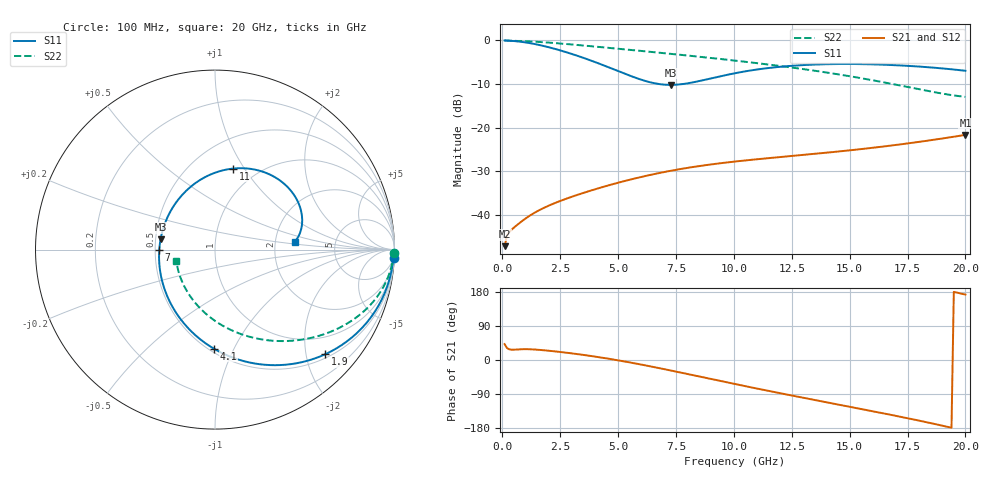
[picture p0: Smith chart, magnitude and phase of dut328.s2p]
! Touchstone file exported from HFSS 2024.1.0
!  File:  C:/UserFiles/LocalFiles/RDL_TSV_Batchsim/temp_RDL_TSV_328_1779631560.aedt
!  Generated:  10:26:10 PM May 24, 2026
!  Design:  RDL_TSV
!  Project:  temp_RDL_TSV_328_1779631560
!  Setup:  Setup1
!  Solution:  Sweep
! Variables:
!  dtsv = 7.47um
!  hbump = 3um
!  htsv = 77.25um
!  ldown = 663.25um
!  lrdl = 528.51um
!  p = 40
!  p1 = 42.19um
!  rhole = 10um
!  subl = 4103.79um
!  t = 450um
!  tdown = 2.03um
!  trdl = 3.8um
!  viad = 10um
!  wdown = 18.35um
!  wrdl = 16.97um
!  xbump = 18um
# GHz S MA R 50.000000
! Terminal data exported
! Port[1] = TM1_1_T1
! Port[2] = TM1_4_T1
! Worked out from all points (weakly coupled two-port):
!   200 points, 100 MHz to 20 GHz, reference 50 ohm
!   highest |S21| = -21.68 dB at 20 GHz (marker M1); lowest = -47.2 dB at 100 MHz (marker M2)
!   lowest |S11| = -10.2 dB at 7.3 GHz (marker M3), VSWR 1.89, Z = 26.6 + j3.44 ohm
!   |S11| at or under -10 dB: 6.745 GHz to 7.825 GHz (1.081 GHz wide, 14.8 % of centre)
!   |S22| runs from -13.0 to 0.0 dB; largest |S21 - S12| = 1.8e-15
!   S11 on the Smith chart (normalised r, x): 100 MHz: 4, -45; 1.9 GHz: 0.58, -2.39; 4.1 GHz: 0.53, -0.84; 7 GHz: 0.53, -0.00; 11 GHz: 0.78, +0.89; 20 GHz: 2.58, +0.29
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0.1  0.9961 -2.5  0.004365 41.9  0.004365 41.9  0.9967 -1.0
! Gamma 0 0 0 0
! Port Impedance 50 0 50 0
0.2  0.9929 -4.9  0.005756 31.8  0.005756 31.8  0.9944 -1.9
0.4  0.986 -9.6  0.006747 27.2  0.006747 27.2  0.9914 -3.5
1.2  0.9279 -28.1  0.00982 28.3  0.00982 28.3  0.9724 -10.0
1.9  0.8469 -43.5  0.01237 25.1  0.01237 25.1  0.9463 -15.3
2.7  0.7397 -60.4  0.01507 19.8  0.01507 19.8  0.9106 -20.8
3.5  0.6302 -77.4  0.0178 13.5  0.0178 13.5  0.8724 -25.8
4.1  0.5514 -90.7  0.01994 8.1  0.01994 8.1  0.8437 -29.2
4.8  0.4668 -107.9  0.02254 1.2  0.02254 1.2  0.8106 -33.1
5.5  0.3944 -127.5  0.02521 -6.3  0.02521 -6.3  0.7783 -36.7
6.1  0.347 -146.9  0.02752 -13.2  0.02752 -13.2  0.7513 -39.8
6.8  0.3146 -172.3  0.03019 -21.7  0.03019 -21.7  0.7206 -43.3
7  0.3105 -179.7  0.03093 -24.2  0.03093 -24.2  0.712 -44.3
7.3  0.3086 169.1  0.03203 -28.0  0.03203 -28.0  0.6992 -45.8
8.7  0.3504 123.7  0.0368 -46.0  0.0368 -46.0  0.6406 -52.7
10.1  0.4222 92.3  0.04091 -64.0  0.04091 -64.0  0.5837 -59.9
11  0.463 77.3  0.04331 -75.4  0.04331 -75.4  0.5477 -64.8
12.1  0.5003 62.5  0.04616 -88.9  0.04616 -88.9  0.5038 -71.1
13.4  0.5264 48.4  0.0497 -104.4  0.0497 -104.4  0.4519 -79.6
15  0.5354 34.5  0.05478 -123.4  0.05478 -123.4  0.3879 -91.9
16.7  0.5227 22.6  0.0617 -143.7  0.0617 -143.7  0.3213 -108.8
20  0.4478 5.7  0.08241 172.6  0.08241 172.6  0.2248 -162.9
